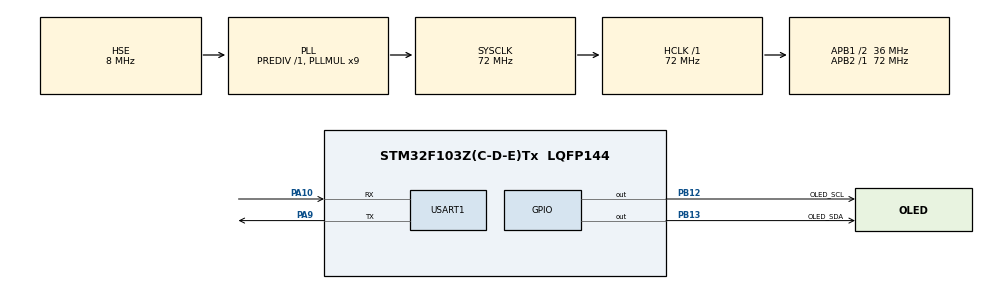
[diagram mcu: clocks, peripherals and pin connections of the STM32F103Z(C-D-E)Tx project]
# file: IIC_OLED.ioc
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Mcu.Family=STM32F1
Mcu.Name=STM32F103Z(C-D-E)Tx
Mcu.Package=LQFP144
NVIC.PriorityGroup=NVIC_PRIORITYGROUP_4
OSC_IN.Mode=HSE-External-Oscillator
OSC_IN.Signal=RCC_OSC_IN
OSC_OUT.Mode=HSE-External-Oscillator
OSC_OUT.Signal=RCC_OSC_OUT
PA10.Mode=Asynchronous
PA10.Signal=USART1_RX
PA13.Mode=Serial_Wire
PA13.Signal=SYS_JTMS-SWDIO
PA14.Mode=Serial_Wire
PA14.Signal=SYS_JTCK-SWCLK
PA9.Mode=Asynchronous
PA9.Signal=USART1_TX
PB12.GPIO_Label=OLED_SCL
PB12.GPIO_PuPd=GPIO_PULLUP
PB12.GPIO_Speed=GPIO_SPEED_FREQ_HIGH
PB12.PinState=GPIO_PIN_SET
PB12.Signal=GPIO_Output
PB13.GPIO_Label=OLED_SDA
PB13.GPIO_ModeDefaultOutputPP=GPIO_MODE_OUTPUT_OD
PB13.GPIO_PuPd=GPIO_PULLUP
PB13.GPIO_Speed=GPIO_SPEED_FREQ_HIGH
PB13.PinState=GPIO_PIN_SET
PB13.Signal=GPIO_Output
ProjectManager.HeapSize=0x200
ProjectManager.StackSize=0x400
ProjectManager.TargetToolchain=MDK-ARM V5.32
RCC.AHBFreq_Value=72000000
RCC.APB1CLKDivider=RCC_HCLK_DIV2
RCC.APB1Freq_Value=36000000
RCC.APB1TimFreq_Value=72000000
RCC.APB2Freq_Value=72000000
RCC.APB2TimFreq_Value=72000000
RCC.HCLKFreq_Value=72000000
RCC.PLLMUL=RCC_PLL_MUL9
RCC.PLLSourceVirtual=RCC_PLLSOURCE_HSE
RCC.SYSCLKFreq_VALUE=72000000
RCC.SYSCLKSource=RCC_SYSCLKSOURCE_PLLCLK
RCC.USBFreq_Value=72000000
TIM3.Prescaler=72-1
USART1.VirtualMode=VM_ASYNC
VP_TIM3_VS_ClockSourceINT.Mode=Internal
board=custom

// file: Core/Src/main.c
/* USER CODE BEGIN Header */
/**
 ******************************************************************************
 * @file           : main.c
 * @brief          : Main program body
 ******************************************************************************
 * @attention
 *
 * Copyright (c) 2023 STMicroelectronics.
 * All rights reserved.
 *
 * This software is licensed under terms that can be found in the LICENSE file
 * in the root directory of this software component.
 * If no LICENSE file comes with this software, it is provided AS-IS.
 *
 ******************************************************************************
 */
/* USER CODE END Header */
#include "main.h"
#include "tim.h"
#include "usart.h"
#include "gpio.h"

/* USER CODE BEGIN Includes */
#include "stdio.h"
#include "OLED.h"
#include "stdio.h"
#include "gpio.h"
#include "GUI.h"
/* USER CODE END Includes */

/* USER CODE BEGIN PM */
extern GUI_CONST_STORAGE GUI_BITMAP bmhello;
extern GUI_FLASH const GUI_FONT GUI_FontHZ_SimSun_24;
/* USER CODE END PM */

/* USER CODE BEGIN PV */
float Average_Tr = 33.6;
float Average_Tw = 30.2;
float Average_He = 60;
float Average_Ts = 26.5;
float Average_HR = 80;
float Average_SPO2 = 98;
float MHC = 99.99;
/* USER CODE END PV */

void SystemClock_Config(void);

int main(void)
{

  /* MCU Configuration--------------------------------------------------------*/

  /* Reset of all peripherals, Initializes the Flash interface and the Systick. */
  HAL_Init();

  /* Configure the system clock */
  SystemClock_Config();

  /* Initialize all configured peripherals */
  MX_GPIO_Init();
  MX_TIM3_Init();
  MX_USART1_UART_Init();
  /* USER CODE BEGIN 2 */

  GUI_Init(); // 初始化GUI图形库
              //	GUI_SetFont(&GUI_FontHZ_SimSun_24); // 设置 24 号宋体
              //	GUI_DispString("\nHello\nOLED\n");
              //	GUI_DispString("您好！\nOLED"); // 显示 LOGO 文本
              //	GUI_Update(); // 刷新OLED屏幕显示

  //	HAL_Delay(2000);
  //	GUI_Clear();
  //	GUI_DrawBitmap(&bmhello, 64, 0);  // 显示 OLED 图片
  //	GUI_Update(); // 刷新OLED屏幕显示

  GUI_SetFont(GUI_DEFAULT_FONT); // 设置 ASCII 字体
                                 //  Average_HR = (int32_t)(temp * 10);
  char str[30];
  // sprintf(str, "HR: %.1f", Average_HR);
  // 			GUI_ClearRect(0, 0, 14, 10);
  // GUI_DispStringAt(str, 0, 0);
  // GUI_Update();

  // sprintf(str, "SPO2: %.1f", Average_SPO2);
  // 			GUI_ClearRect(0, 10, 14, 10);
  // GUI_DispStringAt(str, 0, 10);
  // GUI_Update();

  // OLED_Init();

  //  	OLED_ShowString(1,1,"HR:");//显示字符
  //  OLED_ShowNum(1,5,80, 2);//显示字符串

  //    	OLED_ShowString(2,1,"SpO2:");//显示字符
  //  OLED_ShowString(2,7,"99%");

  //     	OLED_ShowString(3,1,"E_humidity:");//显示字符
  // OLED_ShowString(3,13,"60.5%");

  //     	OLED_ShowString(4,1,"E_temperature:");//显示字符
  // OLED_ShowString(4,15,"33.4");

  //       	OLED_ShowString(5,1,"S_temperature:");//显示字符
  // OLED_ShowString(5,15,"36.5");

  //       	OLED_ShowString(6,0,"AR_temperature:");//显示字符
  // OLED_ShowString(6,16,"38.5");

  //  OLED_ShowChar(1,1,'A');//显示字符
  //  OLED_ShowString(1,5,"AMH");//显示字符串

  // //最后一个参数，是显示长度，
  // //小于最高位就依次没有，大于最高位补0
  // OLED_ShowNum(2,1,12345,5);//显示无符号数

  // OLED_ShowSignedNum(2,7,66,2);//显示符号
  // OLED_ShowSignedNum(2,12,-66,2);//显示符号

  // OLED_ShowHexNum(3,1,0xAA55,4);//显示16进制的数

  //   OLED_ShowCHinese(6, 0, 0);							//西
  // OLED_ShowCHinese(6, 16, 1); 						//安

  /* USER CODE END 2 */

  /* Infinite loop */
  /* USER CODE BEGIN WHILE */
  while (1)
  {
    sprintf(str, "HR: %.1f", Average_HR);
    GUI_ClearRect(0, 0, 128, 8);
    GUI_DispStringAt(str, 0, 0);
    GUI_Update();

    sprintf(str, "SPO2: %.1f", Average_SPO2);
    GUI_ClearRect(0, 9, 128, 8);
    GUI_DispStringAt(str, 0, 9);
    GUI_Update();

    sprintf(str, "Env. humidity: %.1f", Average_He);
    GUI_ClearRect(0, 18, 128, 8);
    GUI_DispStringAt(str, 0, 18);
    GUI_Update();
    sprintf(str, "Env. temperature: %.1f", Average_Ts);
    GUI_ClearRect(0, 27, 128, 8);
    GUI_DispStringAt(str, 0, 27);
    GUI_Update();

    sprintf(str, "Skin temperature: %.1f", Average_Tw);
    GUI_ClearRect(0, 36, 128, 8);
    GUI_DispStringAt(str, 0, 36);
    GUI_Update();

    sprintf(str, "Abs. rad. temp.: %.1f", Average_Tr);
    GUI_ClearRect(0, 45, 128, 8);
    GUI_DispStringAt(str, 0, 45);
    GUI_Update();

    sprintf(str, "Met. heat prod.: %.1f", MHC);
    GUI_ClearRect(0, 54, 128, 8);
    GUI_DispStringAt(str, 0, 54);
    GUI_Update();

    HAL_Delay(1000);
    /* USER CODE END WHILE */

  }
}

void SystemClock_Config(void)
{
  RCC_OscInitTypeDef RCC_OscInitStruct = {0};
  RCC_ClkInitTypeDef RCC_ClkInitStruct = {0};

  /** Initializes the RCC Oscillators according to the specified parameters
   * in the RCC_OscInitTypeDef structure.
   */
  RCC_OscInitStruct.OscillatorType = RCC_OSCILLATORTYPE_HSE;
  RCC_OscInitStruct.HSEState = RCC_HSE_ON;
  RCC_OscInitStruct.HSEPredivValue = RCC_HSE_PREDIV_DIV1;
  RCC_OscInitStruct.HSIState = RCC_HSI_ON;
  RCC_OscInitStruct.PLL.PLLState = RCC_PLL_ON;
  RCC_OscInitStruct.PLL.PLLSource = RCC_PLLSOURCE_HSE;
  RCC_OscInitStruct.PLL.PLLMUL = RCC_PLL_MUL9;
  if (HAL_RCC_OscConfig(&RCC_OscInitStruct) != HAL_OK)
  {
    Error_Handler();
  }

  /** Initializes the CPU, AHB and APB buses clocks
   */
  RCC_ClkInitStruct.ClockType = RCC_CLOCKTYPE_HCLK | RCC_CLOCKTYPE_SYSCLK | RCC_CLOCKTYPE_PCLK1 | RCC_CLOCKTYPE_PCLK2;
  RCC_ClkInitStruct.SYSCLKSource = RCC_SYSCLKSOURCE_PLLCLK;
  RCC_ClkInitStruct.AHBCLKDivider = RCC_SYSCLK_DIV1;
  RCC_ClkInitStruct.APB1CLKDivider = RCC_HCLK_DIV2;
  RCC_ClkInitStruct.APB2CLKDivider = RCC_HCLK_DIV1;

  if (HAL_RCC_ClockConfig(&RCC_ClkInitStruct, FLASH_LATENCY_2) != HAL_OK)
  {
    Error_Handler();
  }
}

void Error_Handler(void)
{
  __disable_irq();
  while (1)
  {
  }
}
